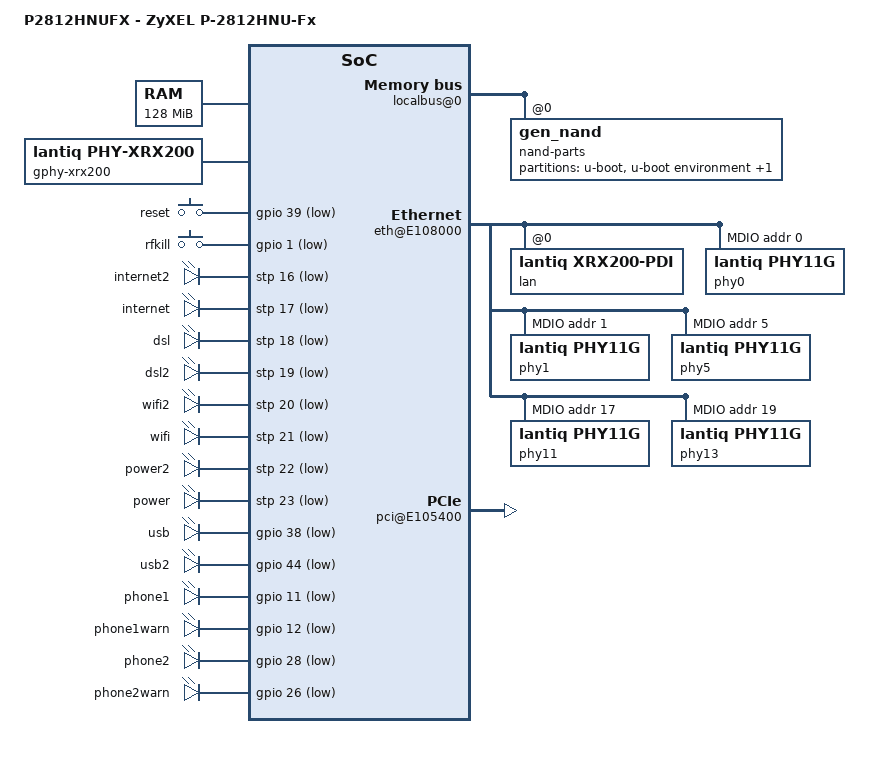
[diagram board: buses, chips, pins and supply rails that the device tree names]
/dts-v1/;

/include/ "vr9.dtsi"

/ {
	model = "P2812HNUFX - ZyXEL P-2812HNU-Fx";
	
	chosen {
		/*bootargs = "console=ttyLTQ0,115200 init=/etc/preinit";*/
	};

	memory@0 {
		reg = <0x0 0x8000000>;
	};
	
	fpi@10000000 {
		#address-cells = <1>;
		#size-cells = <1>;
		compatible = "lantiq,fpi", "simple-bus";
		ranges = <0x0 0x10000000 0xEEFFFFF>;
		reg = <0x10000000 0xEF00000>;

		localbus@0 {
			#address-cells = <2>;
			#size-cells = <1>;
			compatible = "lantiq,localbus", "simple-bus";

			nand-parts@0 {
				compatible = "gen_nand", "lantiq,nand-xway";
				lantiq,cs = <1>;
				bank-width = <2>;
				reg = <0 0x0 0x2000000>;
				#address-cells = <1>;
				#size-cells = <1>;

				partition@0 {
					label = "u-boot";
					reg = <0x00000 0x40000>;
				};

				partition@40000 {
					label = "u-boot environment";
					reg = <0x40000 0x20000>;
				};

				partition@60000 {
					label = "root";
					reg = <0x60000 0x7fa0000>;
				};
			};
		};

		gpio: pinmux@E100B10 {
			compatible = "lantiq,pinctrl-xr9";
			pinctrl-names = "default";
			pinctrl-0 = <&state_default>;
			
			interrupt-parent = <&icu0>;
			interrupts = <166 135 66 40 41 42 38>;

			#gpio-cells = <2>;
			gpio-controller;
			reg = <0xE100B10 0xA0>;

			state_default: pinmux {
				mdio {
					lantiq,groups = "mdio";
					lantiq,function = "mdio";
				};
				gphy-leds {
					lantiq,groups = "gphy0 led1", "gphy1 led1",
							"gphy0 led2", "gphy1 led2";
					lantiq,function = "gphy";
					lantiq,pull = <2>;
					lantiq,open-drain = <0>;
					lantiq,output = <1>;
				};
				stp {
					lantiq,groups = "stp";
					lantiq,function = "stp";
					lantiq,pull = <2>;
					lantiq,open-drain = <0>;
					lantiq,output = <1>;
				};
				pci {
					lantiq,groups = "gnt1", "req1";
					lantiq,function = "pci";
				};
				pci-rst {
					lantiq,pins = "io21";
					lantiq,pull = <0>;
					lantiq,open-drain = <0>;
					lantiq,output = <1>;
				};
				ifxhcd-rst {
					lantiq,pins = "io33";
					lantiq,pull = <0>;
					lantiq,open-drain = <0>;
					lantiq,output = <1>;
				};
				nand {
					lantiq,groups = "nand cle", "nand ale",
							"nand rd", "nand cs1", "nand rdy";
					lantiq,function = "ebu";
					lantiq,pull = <1>;
				};
			};
		};

		eth@E108000 {
			#address-cells = <1>;
			#size-cells = <0>;
			compatible = "lantiq,xrx200-net";
			reg = <	0xE108000 0x3000 /* switch */
				0xE10B100 0x70 /* mdio */
				0xE10B1D8 0x30 /* mii */
				0xE10B308 0x30 /* pmac */
			>;
			interrupt-parent = <&icu0>;
			interrupts = <73 72>;

			lan: interface@0 {
				compatible = "lantiq,xrx200-pdi";
				#address-cells = <1>;
				#size-cells = <0>;
				reg = <0>;
				mac-address = [ 00 11 22 33 44 55 ];
				lantiq,switch;

				ethernet@0 {
					compatible = "lantiq,xrx200-pdi-port";
					reg = <0>;
					phy-mode = "rgmii";
					phy-handle = <&phy0>;
				};
				ethernet@1 {
					compatible = "lantiq,xrx200-pdi-port";
					reg = <1>;
					phy-mode = "rgmii";
					phy-handle = <&phy1>;
				};
				ethernet@2 {
					compatible = "lantiq,xrx200-pdi-port";
					reg = <2>;
					phy-mode = "gmii";
					phy-handle = <&phy11>;
				};
				ethernet@4 {
					compatible = "lantiq,xrx200-pdi-port";
					reg = <4>;
					phy-mode = "gmii";
					phy-handle = <&phy13>;
				};
				ethernet@5 {
					compatible = "lantiq,xrx200-pdi-port";
					reg = <5>;
					phy-mode = "rgmii";
					phy-handle = <&phy5>;
				};
			};

			mdio@0 {
				#address-cells = <1>;
				#size-cells = <0>;
				compatible = "lantiq,xrx200-mdio";
				phy0: ethernet-phy@0 {
					reg = <0x0>;
					compatible = "lantiq,phy11g", "ethernet-phy-ieee802.3-c22";
				};
				phy1: ethernet-phy@1 {
					reg = <0x1>;
					compatible = "lantiq,phy11g", "ethernet-phy-ieee802.3-c22";
				};
				phy5: ethernet-phy@5 {
					reg = <0x5>;
					compatible = "lantiq,phy11g", "ethernet-phy-ieee802.3-c22";
				};
				phy11: ethernet-phy@11 {
					reg = <0x11>;
					compatible = "lantiq,phy11g", "ethernet-phy-ieee802.3-c22";
				};
				phy13: ethernet-phy@13 {
					reg = <0x13>;
					compatible = "lantiq,phy11g", "ethernet-phy-ieee802.3-c22";
				};
			};
		};

		stp: stp@E100BB0 {
			compatible = "lantiq,gpio-stp-xway";
			reg = <0xE100BB0 0x40>;
			#gpio-cells = <2>;
			gpio-controller;

			lantiq,shadow = <0xffffff>;
			lantiq,groups = <0x7>;
			/*
			lantiq,dsl = <0x3>;
			lantiq,phy1 = <0x7>;
			lantiq,phy2 = <0x7>;
			*/
		};

		ifxhcd@E101000 {
			status = "okay";
			gpios = <&gpio 33 0>;
			lantiq,portmask = <0x3>;
		};

		pci@E105400 {
			lantiq,bus-clock = <33333333>;
			/* lantiq,external-clock; */
			lantiq,delay-hi = <0>; /* 0ns delay */
			lantiq,delay-lo = <0>; /* 0.0ns delay */
			interrupt-map-mask = <0xf800 0x0 0x0 0x7>;
			interrupt-map = <
				0x7000 0 0 1 &icu0 29 //1 // slot 14, irq 29
				>;
			gpio-reset = <&gpio 21 0>;
			req-mask = <0x1>;	/* GNT1 */
			status = "okay";
		};
	};

	gphy-xrx200 {
		compatible = "lantiq,phy-xrx200";
		firmware = "lantiq/vr9_phy11g_a1x.bin";
		phys = [ 00 01 ];
	};

	gpio-keys-polled {
		compatible = "gpio-keys-polled";
		#address-cells = <1>;
		#size-cells = <0>;
		poll-interval = <100>;
		reset {
			label = "reset";
			gpios = <&gpio 39 1>;
			linux,code = <0x198>;
		};
		rfkill {
			label = "rfkill";
			gpios = <&gpio 1 1>;
			linux,code = <0xf7>;
		};
	};

	gpio-leds {
		compatible = "gpio-leds";

		internet2 {
			label = "internet2";
			gpios = <&stp 16 1>;
		};
		internet {
			label = "internet";
			gpios = <&stp 17 1>;
		};
		dsl {
			label = "dsl";
			gpios = <&stp 18 1>;
		};
		dsl2 {
			label = "dsl2";
			gpios = <&stp 19 1>;
		};
		wifi2 {
			label = "wifi2";
			gpios = <&stp 20 1>;
		};
		wlan {
			label = "wifi";
			gpios = <&stp 21 1>;
		};
		power2 {
			label = "power2";
			gpios = <&stp 22 1>;
		};
		power {
			label = "power";
			gpios = <&stp 23 1>;
		};
		usb1 {
			label = "usb";
			gpios = <&gpio 38 1>;
		};
		usb2 {
			label = "usb2";
			gpios = <&gpio 44 1>;
		};
		phone1 {
			label = "phone1";
			gpios = <&gpio 11 1>;
		};
		phone1warn {
			label = "phone1warn";
			gpios = <&gpio 12 1>;
		};
		phone2 {
			label = "phone2";
			gpios = <&gpio 28 1>;
		};
		phone2warn {
			label = "phone2warn";
			gpios = <&gpio 26 1>;
		};
	};
};
